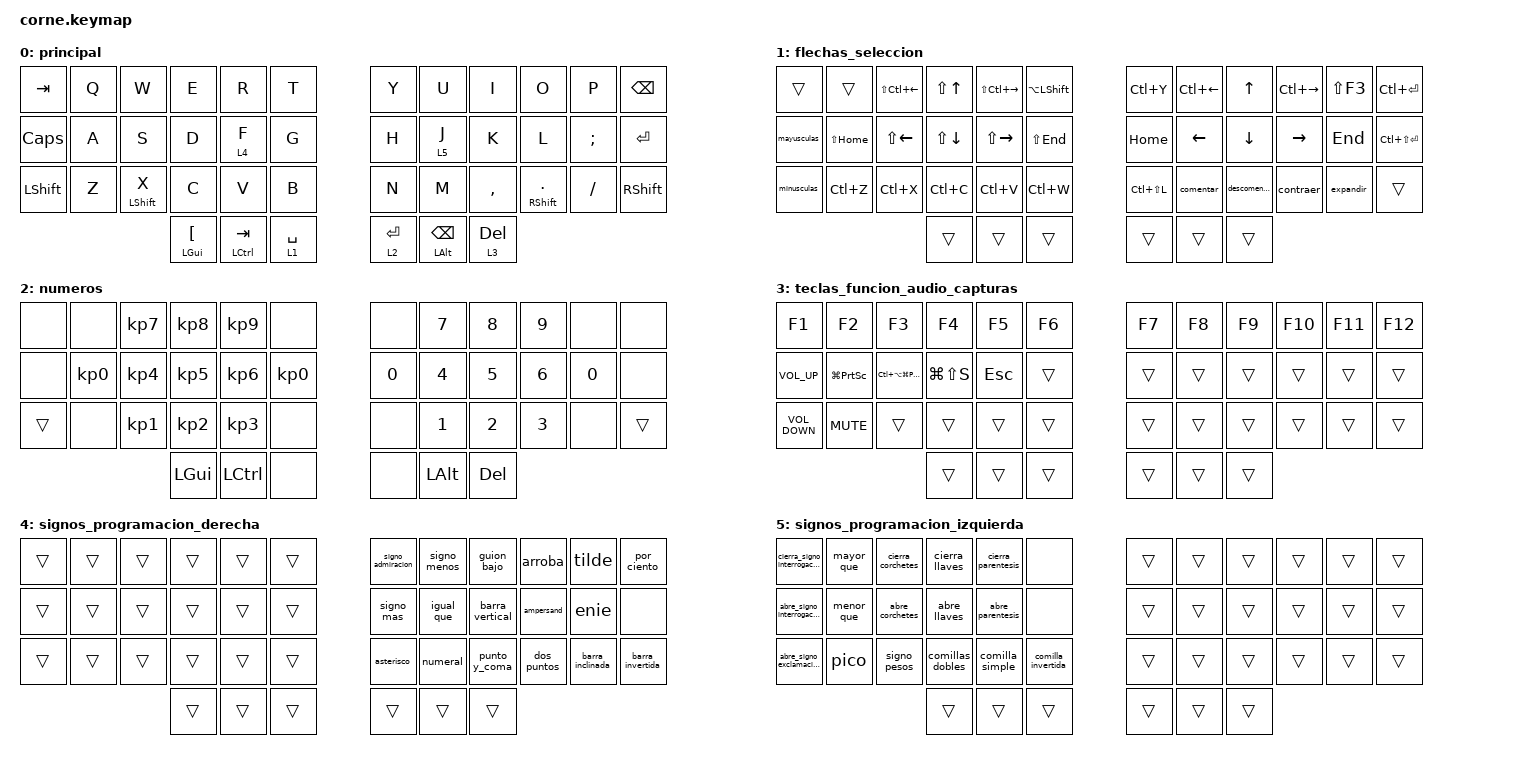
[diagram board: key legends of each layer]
/*
 * Copyright (c) 2020 The ZMK Contributors
 *
 * SPDX-License-Identifier: MIT
 */

#include <behaviors.dtsi>
#include <dt-bindings/zmk/keys.h>

/ {
    macros {
        menor_que: menor_a {
            compatible = "zmk,behavior-macro";
            #binding-cells = <0>;
            bindings =
                <&macro_press &kp LEFT_ALT &kp KP_NUMBER_6 &kp KP_NUMBER_0>,
                <&macro_release &kp LEFT_ALT &kp KP_NUMBER_6 &kp KP_NUMBER_0>;

            label = "MENOR_A";
        };

        mayor_que: mayor_que {
            compatible = "zmk,behavior-macro";
            #binding-cells = <0>;
            bindings =
                <&macro_press &kp LEFT_ALT &kp KP_NUMBER_6 &kp KP_NUMBER_2>,
                <&macro_release &kp LEFT_ALT &kp KP_NUMBER_6 &kp KP_NUMBER_2>;

            label = "MAYOR_QUE";
        };

        abre_corchetes: abre_corchetes {
            compatible = "zmk,behavior-macro";
            #binding-cells = <0>;
            bindings =
                <&macro_press &kp LEFT_ALT &kp KP_NUMBER_9 &kp KP_NUMBER_1>,
                <&macro_release &kp LEFT_ALT &kp KP_NUMBER_9 &kp KP_NUMBER_1>;

            label = "ABRE_CORCHETES";
        };

        cierra_corchetes: cierra_corchetes {
            compatible = "zmk,behavior-macro";
            #binding-cells = <0>;
            bindings =
                <&macro_press &kp LEFT_ALT &kp KP_NUMBER_9 &kp KP_NUMBER_3>,
                <&macro_release &kp LEFT_ALT &kp KP_NUMBER_9 &kp KP_NUMBER_3>;

            label = "CIERRA_CORCHETES";
        };

        abre_llaves: abre_llaves {
            compatible = "zmk,behavior-macro";
            #binding-cells = <0>;
            bindings =
                <&macro_press &kp LEFT_ALT &kp KP_NUMBER_1 &kp KP_NUMBER_2 &kp KP_NUMBER_3>,
                <&macro_release &kp LEFT_ALT &kp KP_NUMBER_1 &kp KP_NUMBER_2 &kp KP_NUMBER_3>;

            label = "ABRE_LLAVES";
        };

        cierra_llaves: cierra_llaves {
            compatible = "zmk,behavior-macro";
            #binding-cells = <0>;
            bindings =
                <&macro_press &kp LEFT_ALT &kp KP_NUMBER_1 &kp KP_NUMBER_2 &kp KP_NUMBER_5>,
                <&macro_release &kp LEFT_ALT &kp KP_NUMBER_1 &kp KP_NUMBER_2 &kp KP_NUMBER_5>;

            label = "CIERRA_LLAVES";
        };

        abre_parentesis: abre_parentesis {
            compatible = "zmk,behavior-macro";
            #binding-cells = <0>;
            bindings =
                <&macro_press &kp LEFT_ALT &kp KP_NUMBER_4 &kp KP_NUMBER_0>,
                <&macro_release &kp LEFT_ALT &kp KP_NUMBER_4 &kp KP_NUMBER_0>;

            label = "ABRE_PARENTESIS";
        };

        cierra_parentesis: cierra_parentesis {
            compatible = "zmk,behavior-macro";
            #binding-cells = <0>;
            bindings =
                <&macro_press &kp LEFT_ALT &kp KP_NUMBER_4 &kp KP_NUMBER_1>,
                <&macro_release &kp LEFT_ALT &kp KP_NUMBER_4 &kp KP_NUMBER_1>;

            label = "CIERRA_PARENTESIS";
        };

        abre_signo_interrogacion: abre_signo_interrogacion {
            compatible = "zmk,behavior-macro";
            #binding-cells = <0>;
            bindings =
                <&macro_press &kp LEFT_ALT &kp KP_NUMBER_1 &kp KP_NUMBER_6 &kp KP_NUMBER_8>,
                <&macro_release &kp LEFT_ALT &kp KP_NUMBER_1 &kp KP_NUMBER_6 &kp KP_NUMBER_8>;

            label = "ABRE_SIGNO_INTERROGACION";
        };

        cierra_signo_interrogacion: cierra_signo_interrogacion {
            compatible = "zmk,behavior-macro";
            #binding-cells = <0>;
            bindings =
                <&macro_press &kp LEFT_ALT &kp KP_NUMBER_6 &kp KP_NUMBER_3>,
                <&macro_release &kp LEFT_ALT &kp KP_NUMBER_6 &kp KP_NUMBER_3>;

            label = "CIERRA_SIGNO_INTERROGACION";
        };

        comillas_dobles: comillas_dobles {
            compatible = "zmk,behavior-macro";
            #binding-cells = <0>;
            bindings =
                <&macro_press &kp LEFT_ALT &kp KP_NUMBER_3 &kp KP_NUMBER_4>,
                <&macro_release &kp LEFT_ALT &kp KP_NUMBER_3 &kp KP_NUMBER_4>;

            label = "COMILLAS_DOBLES";
        };

        comilla_simple: comilla_simple {
            compatible = "zmk,behavior-macro";
            #binding-cells = <0>;
            bindings =
                <&macro_press &kp LEFT_ALT &kp KP_NUMBER_3 &kp KP_NUMBER_9>,
                <&macro_release &kp LEFT_ALT &kp KP_NUMBER_3 &kp KP_NUMBER_9>;

            label = "COMILLA_SIMPLE";
        };

        comilla_invertida: comilla_invertida {
            compatible = "zmk,behavior-macro";
            #binding-cells = <0>;
            bindings =
                <&macro_press &kp LEFT_ALT &kp KP_NUMBER_9 &kp KP_NUMBER_6>,
                <&macro_release &kp LEFT_ALT &kp KP_NUMBER_9 &kp KP_NUMBER_6>;

            label = "COMILLA_INVERTIDA";
        };

        punto_y_coma: punto_y_coma {
            compatible = "zmk,behavior-macro";
            #binding-cells = <0>;
            bindings =
                <&macro_press &kp LEFT_ALT &kp KP_NUMBER_5 &kp KP_NUMBER_9>,
                <&macro_release &kp LEFT_ALT &kp KP_NUMBER_5 &kp KP_NUMBER_9>;

            label = "PUNTO_Y_COMA";
        };

        dos_puntos: dos_puntos {
            compatible = "zmk,behavior-macro";
            #binding-cells = <0>;
            bindings =
                <&macro_press &kp LEFT_ALT &kp KP_NUMBER_5 &kp KP_NUMBER_8>,
                <&macro_release &kp LEFT_ALT &kp KP_NUMBER_5 &kp KP_NUMBER_8>;

            label = "DOS_PUNTOS";
        };

        signo_admiracion: signo_admiracion {
            compatible = "zmk,behavior-macro";
            #binding-cells = <0>;
            bindings =
                <&macro_press &kp LEFT_ALT &kp KP_NUMBER_3 &kp KP_NUMBER_3>,
                <&macro_release &kp LEFT_ALT &kp KP_NUMBER_3 &kp KP_NUMBER_3>;

            label = "SIGNO_ADMIRACION";
        };

        signo_mas: signo_mas {
            compatible = "zmk,behavior-macro";
            #binding-cells = <0>;
            bindings =
                <&macro_press &kp LEFT_ALT &kp KP_NUMBER_4 &kp KP_NUMBER_3>,
                <&macro_release &kp LEFT_ALT &kp KP_NUMBER_4 &kp KP_NUMBER_3>;

            label = "SIGNO_MAS";
        };

        asterisco: asterisco {
            compatible = "zmk,behavior-macro";
            #binding-cells = <0>;
            bindings =
                <&macro_press &kp LEFT_ALT &kp KP_NUMBER_4 &kp KP_NUMBER_2>,
                <&macro_release &kp LEFT_ALT &kp KP_NUMBER_4 &kp KP_NUMBER_2>;

            label = "ASTERISCO";
        };

        signo_menos: signo_menos {
            compatible = "zmk,behavior-macro";
            #binding-cells = <0>;
            bindings =
                <&macro_press &kp LEFT_ALT &kp KP_NUMBER_4 &kp KP_NUMBER_5>,
                <&macro_release &kp LEFT_ALT &kp KP_NUMBER_4 &kp KP_NUMBER_5>;

            label = "SIGNO_MENOS";
        };

        igual_que: igual_que {
            compatible = "zmk,behavior-macro";
            #binding-cells = <0>;
            bindings =
                <&macro_press &kp LEFT_ALT &kp KP_NUMBER_6 &kp KP_NUMBER_1>,
                <&macro_release &kp LEFT_ALT &kp KP_NUMBER_6 &kp KP_NUMBER_1>;

            label = "IGUAL_QUE";
        };

        signo_pesos: signo_pesos {
            compatible = "zmk,behavior-macro";
            #binding-cells = <0>;
            bindings =
                <&macro_press &kp LEFT_ALT &kp KP_NUMBER_3 &kp KP_NUMBER_6>,
                <&macro_release &kp LEFT_ALT &kp KP_NUMBER_3 &kp KP_NUMBER_6>;

            label = "SIGNO_PESOS";
        };

        numeral: numeral {
            compatible = "zmk,behavior-macro";
            #binding-cells = <0>;
            bindings =
                <&macro_press &kp LEFT_ALT &kp KP_NUMBER_3 &kp KP_NUMBER_5>,
                <&macro_release &kp LEFT_ALT &kp KP_NUMBER_3 &kp KP_NUMBER_5>;

            label = "NUMERAL";
        };

        barra_vertical: barra_vertical {
            compatible = "zmk,behavior-macro";
            #binding-cells = <0>;
            bindings =
                <&macro_press &kp LEFT_ALT &kp KP_NUMBER_1 &kp KP_NUMBER_2 &kp KP_NUMBER_4>,
                <&macro_release &kp LEFT_ALT &kp KP_NUMBER_1 &kp KP_NUMBER_2 &kp KP_NUMBER_4>;

            label = "BARRA_VERTICAL";
        };

        guion_bajo: guion_bajo {
            compatible = "zmk,behavior-macro";
            #binding-cells = <0>;
            bindings =
                <&macro_press &kp LEFT_ALT &kp KP_NUMBER_9 &kp KP_NUMBER_5>,
                <&macro_release &kp LEFT_ALT &kp KP_NUMBER_9 &kp KP_NUMBER_5>;

            label = "GUION_BAJO";
        };

        arroba: arroba {
            compatible = "zmk,behavior-macro";
            #binding-cells = <0>;
            bindings =
                <&macro_press &kp LEFT_ALT &kp KP_NUMBER_6 &kp KP_NUMBER_4>,
                <&macro_release &kp LEFT_ALT &kp KP_NUMBER_6 &kp KP_NUMBER_4>;

            label = "ARROBA";
        };

        ampersand: ampersand {
            compatible = "zmk,behavior-macro";
            #binding-cells = <0>;
            bindings =
                <&macro_press &kp LEFT_ALT &kp KP_NUMBER_3 &kp KP_NUMBER_8>,
                <&macro_release &kp LEFT_ALT &kp KP_NUMBER_3 &kp KP_NUMBER_8>;

            label = "AMPERSAND";
        };

        pico: pico {
            compatible = "zmk,behavior-macro";
            #binding-cells = <0>;
            bindings =
                <&macro_press &kp LEFT_ALT &kp KP_NUMBER_9 &kp KP_NUMBER_4>,
                <&macro_release &kp LEFT_ALT &kp KP_NUMBER_9 &kp KP_NUMBER_4>;

            label = "PICO";
        };

        tilde: tilde {
            compatible = "zmk,behavior-macro";
            #binding-cells = <0>;
            bindings =
                <&macro_press &kp LEFT_ALT &kp KP_NUMBER_1 &kp KP_NUMBER_2 &kp KP_NUMBER_6>,
                <&macro_release &kp LEFT_ALT &kp KP_NUMBER_1 &kp KP_NUMBER_2 &kp KP_NUMBER_6>;

            label = "TILDE";
        };

        por_ciento: por_ciento {
            compatible = "zmk,behavior-macro";
            #binding-cells = <0>;
            bindings =
                <&macro_press &kp LEFT_ALT &kp KP_NUMBER_3 &kp KP_NUMBER_7>,
                <&macro_release &kp LEFT_ALT &kp KP_NUMBER_3 &kp KP_NUMBER_7>;

            label = "POR_CIENTO";
        };

        barra_invertida: barra_invertida {
            compatible = "zmk,behavior-macro";
            #binding-cells = <0>;
            bindings =
                <&macro_press &kp LEFT_ALT &kp KP_NUMBER_9 &kp KP_NUMBER_2>,
                <&macro_release &kp LEFT_ALT &kp KP_NUMBER_9 &kp KP_NUMBER_2>;

            label = "BARRA_INVERTIDA";
        };

        barra_inclinada: barra_inclinada {
            compatible = "zmk,behavior-macro";
            #binding-cells = <0>;
            bindings =
                <&macro_press &kp LEFT_ALT &kp KP_NUMBER_4 &kp KP_NUMBER_7>,
                <&macro_release &kp LEFT_ALT &kp KP_NUMBER_4 &kp KP_NUMBER_7>;

            label = "BARRA_INCLINADA";
        };

        enie: enie {
            compatible = "zmk,behavior-macro";
            #binding-cells = <0>;
            bindings =
                <&macro_press &kp LEFT_ALT &kp KP_NUMBER_1 &kp KP_NUMBER_6 &kp KP_NUMBER_4>,
                <&macro_release &kp LEFT_ALT &kp KP_NUMBER_1 &kp KP_NUMBER_6 &kp KP_NUMBER_4>;

            label = "ENIE";
        };

        abre_signo_exclamacion: abre_signo_exclamacion {
            compatible = "zmk,behavior-macro";
            #binding-cells = <0>;
            bindings =
                <&macro_press &kp LEFT_ALT &kp KP_NUMBER_1 &kp KP_NUMBER_7 &kp KP_NUMBER_3>,
                <&macro_release &kp LEFT_ALT &kp KP_NUMBER_1 &kp KP_NUMBER_7 &kp KP_NUMBER_3>;

            label = "ABRE_SIGNO_EXCLAMACION";
        };

        comentar: comentar {
            compatible = "zmk,behavior-macro";
            #binding-cells = <0>;
            bindings =
                <&macro_press>,
                <&kp LEFT_CONTROL>,
                <&macro_tap>,
                <&kp K &kp C>,
                <&macro_release>,
                <&kp LEFT_CONTROL>;

            label = "COMENTAR";
        };

        descomentar: descomentar {
            compatible = "zmk,behavior-macro";
            #binding-cells = <0>;
            bindings =
                <&macro_press>,
                <&kp LEFT_CONTROL>,
                <&macro_tap>,
                <&kp K &kp U>,
                <&macro_release>,
                <&kp LEFT_CONTROL>;

            label = "DESCOMENTAR";
        };

        expandir: expandir {
            compatible = "zmk,behavior-macro";
            #binding-cells = <0>;
            bindings =
                <&macro_press>,
                <&kp LEFT_CONTROL>,
                <&macro_tap>,
                <&kp M &kp L>,
                <&macro_release>,
                <&kp LEFT_CONTROL>;

            label = "EXPANDIR";
        };

        contraer: contraer {
            compatible = "zmk,behavior-macro";
            #binding-cells = <0>;
            bindings =
                <&macro_press>,
                <&kp LEFT_CONTROL>,
                <&macro_tap>,
                <&kp M &kp O>,
                <&macro_release>,
                <&kp LEFT_CONTROL>;

            label = "CONTRAER";
        };

        mayusculas: mayusculas {
            compatible = "zmk,behavior-macro";
            #binding-cells = <0>;
            bindings =
                <&macro_press>,
                <&kp LCTRL &kp LEFT_SHIFT &kp U>,
                <&macro_release>,
                <&kp LCTRL &kp LEFT_SHIFT &kp U>;

            label = "MAYUSCULAS";
        };

        minusculas: minusculas {
            compatible = "zmk,behavior-macro";
            #binding-cells = <0>;
            bindings =
                <&macro_press>,
                <&kp LCTRL &kp U>,
                <&macro_release>,
                <&kp LCTRL &kp U>;

            label = "MINUSCULAS";
        };

        a_acento: a_acento {
            compatible = "zmk,behavior-macro";
            #binding-cells = <0>;
            bindings =
                <&macro_press &kp LEFT_ALT &kp KP_NUMBER_1 &kp KP_N6 &kp KP_N0>,
                <&macro_release &kp LEFT_ALT &kp KP_NUMBER_1 &kp KP_N6 &kp KP_N0>;

            label = "A_ACENTO";
        };

        e_acento: e_acento {
            compatible = "zmk,behavior-macro";
            #binding-cells = <0>;
            bindings =
                <&macro_press &kp LEFT_ALT &kp KP_NUMBER_1 &kp KP_NUMBER_3 &kp KP_NUMBER_0>,
                <&macro_release &kp LEFT_ALT &kp KP_NUMBER_1 &kp KP_NUMBER_3 &kp KP_NUMBER_0>;

            label = "E_ACENTO";
        };

        i_acento: i_acento {
            compatible = "zmk,behavior-macro";
            #binding-cells = <0>;
            bindings =
                <&macro_press &kp LEFT_ALT &kp KP_NUMBER_1 &kp KP_NUMBER_6 &kp KP_NUMBER_1>,
                <&macro_release &kp LEFT_ALT &kp KP_NUMBER_1 &kp KP_NUMBER_6 &kp KP_NUMBER_1>;

            label = "I_ACENTO";
        };

        o_acento: o_acento {
            compatible = "zmk,behavior-macro";
            #binding-cells = <0>;
            bindings =
                <&macro_press &kp LEFT_ALT &kp KP_NUMBER_1 &kp KP_NUMBER_6 &kp KP_NUMBER_2>,
                <&macro_release &kp LEFT_ALT &kp KP_NUMBER_1 &kp KP_NUMBER_6 &kp KP_NUMBER_2>;

            label = "O_ACENTO";
        };

        u_acento: u_acento {
            compatible = "zmk,behavior-macro";
            #binding-cells = <0>;
            bindings =
                <&macro_press &kp LEFT_ALT &kp KP_NUMBER_1 &kp KP_NUMBER_6 &kp KP_NUMBER_3>,
                <&macro_release &kp LEFT_ALT &kp KP_NUMBER_1 &kp KP_NUMBER_6 &kp KP_NUMBER_3>;

            label = "U_ACENTO";
        };

        A_acento_mayus: A_acento_mayus {
            compatible = "zmk,behavior-macro";
            #binding-cells = <0>;
            bindings =
                <&macro_press &kp LEFT_ALT &kp KP_NUMBER_1 &kp KP_N8 &kp KP_N1>,
                <&macro_release &kp LEFT_ALT &kp KP_NUMBER_1 &kp KP_N8 &kp KP_N1>;

            label = "A_ACENTO_MAYUS";
        };

        E_acento_mayus: E_acento_mayus {
            compatible = "zmk,behavior-macro";
            #binding-cells = <0>;
            bindings =
                <&macro_press &kp LEFT_ALT &kp KP_NUMBER_1 &kp KP_N4 &kp KP_N4>,
                <&macro_release &kp LEFT_ALT &kp KP_NUMBER_1 &kp KP_N4 &kp KP_N4>;

            label = "E_ACENTO_MAYUS";
        };

        I_acento_mayus: I_acento_mayus {
            compatible = "zmk,behavior-macro";
            #binding-cells = <0>;
            bindings =
                <&macro_press &kp LEFT_ALT &kp KP_N2 &kp KP_N1 &kp KP_N4>,
                <&macro_release &kp LEFT_ALT &kp KP_N2 &kp KP_N1 &kp KP_N4>;

            label = "I_ACENTO_MAYUS";
        };

        O_acento_mayus: O_acento_mayus {
            compatible = "zmk,behavior-macro";
            #binding-cells = <0>;
            bindings =
                <&macro_press &kp LEFT_ALT &kp KP_N2 &kp KP_N2 &kp KP_N4>,
                <&macro_release &kp LEFT_ALT &kp KP_N2 &kp KP_N2 &kp KP_N4>;

            label = "O_ACENTO_MAYUS";
        };

        U_acento_mayus: U_acento_mayus {
            compatible = "zmk,behavior-macro";
            #binding-cells = <0>;
            bindings =
                <&macro_press &kp LEFT_ALT &kp KP_N2 &kp KP_N3 &kp KP_N3>,
                <&macro_release &kp LEFT_ALT &kp KP_N2 &kp KP_N3 &kp KP_N3>;

            label = "U_ACENTO_MAYUS";
        };
    };

    combos {
        compatible = "zmk,combos";

        a_acento {
            bindings = <&a_acento>;
            key-positions = <19 13>;
        };

        e_acento {
            bindings = <&e_acento>;
            key-positions = <19 3>;
        };

        i_acento {
            bindings = <&i_acento>;
            key-positions = <16 8>;
        };

        o_acento {
            bindings = <&o_acento>;
            key-positions = <16 9>;
        };

        u_acento {
            bindings = <&u_acento>;
            key-positions = <16 7>;
        };

        A_acento_mayus {
            bindings = <&A_acento_mayus>;
            key-positions = <12 13>;
        };

        E_acento_mayus {
            bindings = <&E_acento_mayus>;
            key-positions = <12 3>;
        };

        I_acento_mayus {
            bindings = <&I_acento_mayus>;
            key-positions = <12 8>;
        };

        O_acento_mayus {
            bindings = <&O_acento_mayus>;
            key-positions = <12 9>;
        };

        U_acento_mayus {
            bindings = <&U_acento_mayus>;
            key-positions = <12 7>;
        };
    };

    keymap {
        compatible = "zmk,keymap";

        principal {
            bindings = <
&kp TAB       &kp Q  &kp W             &kp E                  &kp R          &kp T          &kp Y        &kp U                   &kp I         &kp O                &kp P      &kp BACKSPACE
&kp CAPSLOCK  &kp A  &kp S             &kp D                  &lt 4 F        &kp G          &kp H        &lt 5 J                 &kp K         &kp L                &kp SEMI   &kp ENTER
&kp LSHFT     &kp Z  &mt LEFT_SHIFT X  &kp C                  &kp V          &kp B          &kp N        &kp M                   &kp COMMA     &mt RIGHT_SHIFT DOT  &kp SLASH  &kp RSHFT
                                       &mt LGUI LEFT_BRACKET  &mt LCTRL TAB  &lt 1 SPACE    &lt 2 ENTER  &mt LEFT_ALT BACKSPACE  &lt 3 DELETE
            >;
        };

        flechas_seleccion {
            bindings = <
&trans       &trans        &kp LS(LC(LEFT))  &kp LS(UP_ARROW)  &kp LS(LC(RIGHT))  &kp LA(LEFT_SHIFT)    &kp LC(Y)      &kp LC(LEFT_ARROW)  &kp UP_ARROW  &kp LC(RIGHT)  &kp LS(F3)  &kp LC(ENTER)
&mayusculas  &kp LS(HOME)  &kp LS(LEFT)      &kp LS(DOWN)      &kp LS(RIGHT)      &kp LS(END)           &kp HOME       &kp LEFT            &kp DOWN      &kp RIGHT      &kp END     &kp LC(LS(ENTER))
&minusculas  &kp LC(Z)     &kp LC(X)         &kp LC(C)         &kp LC(V)          &kp LC(W)             &kp LC(LS(L))  &comentar           &descomentar  &contraer      &expandir   &trans
                                             &trans            &trans             &trans                &trans         &trans              &trans
            >;
        };

        numeros {
            bindings = <
&none   &none      &kp KP_N7  &kp KP_N8     &kp KP_N9  &none        &none         &kp NUMBER_7  &kp NUMBER_8  &kp NUMBER_9  &none         &none
&none   &kp KP_N0  &kp KP_N4  &kp KP_N5     &kp KP_N6  &kp KP_N0    &kp NUMBER_0  &kp NUMBER_4  &kp NUMBER_5  &kp NUMBER_6  &kp NUMBER_0  &none
&trans  &none      &kp KP_N1  &kp KP_N2     &kp KP_N3  &none        &none         &kp NUMBER_1  &kp NUMBER_2  &kp NUMBER_3  &none         &trans
                              &kp LEFT_GUI  &kp LCTRL  &none        &none         &kp LEFT_ALT  &kp DELETE
            >;
        };

        teclas_funcion_audio_capturas {
            bindings = <
&kp F1             &kp F2               &kp F3                       &kp F4         &kp F5      &kp F6    &kp F7  &kp F8  &kp F9  &kp F10  &kp F11  &kp F12
&kp C_VOLUME_UP    &kp LG(PRINTSCREEN)  &kp LC(LA(LG(PRINTSCREEN)))  &kp LG(LS(S))  &kp ESCAPE  &trans    &trans  &trans  &trans  &trans   &trans   &trans
&kp C_VOLUME_DOWN  &kp K_MUTE           &trans                       &trans         &trans      &trans    &trans  &trans  &trans  &trans   &trans   &trans
                                                                     &trans         &trans      &trans    &trans  &trans  &trans
            >;
        };

        signos_programacion_derecha {
            bindings = <
&trans  &trans  &trans  &trans  &trans  &trans    &signo_admiracion  &signo_menos  &guion_bajo      &arroba      &tilde            &por_ciento
&trans  &trans  &trans  &trans  &trans  &trans    &signo_mas         &igual_que    &barra_vertical  &ampersand   &enie             &none
&trans  &trans  &trans  &trans  &trans  &trans    &asterisco         &numeral      &punto_y_coma    &dos_puntos  &barra_inclinada  &barra_invertida
                        &trans  &trans  &trans    &trans             &trans        &trans
            >;
        };

        signos_programacion_izquierda {
            bindings = <
&cierra_signo_interrogacion  &mayor_que  &cierra_corchetes  &cierra_llaves    &cierra_parentesis  &none                 &trans  &trans  &trans  &trans  &trans  &trans
&abre_signo_interrogacion    &menor_que  &abre_corchetes    &abre_llaves      &abre_parentesis    &none                 &trans  &trans  &trans  &trans  &trans  &trans
&abre_signo_exclamacion      &pico       &signo_pesos       &comillas_dobles  &comilla_simple     &comilla_invertida    &trans  &trans  &trans  &trans  &trans  &trans
                                                            &trans            &trans              &trans                &trans  &trans  &trans
            >;
        };
    };
};
